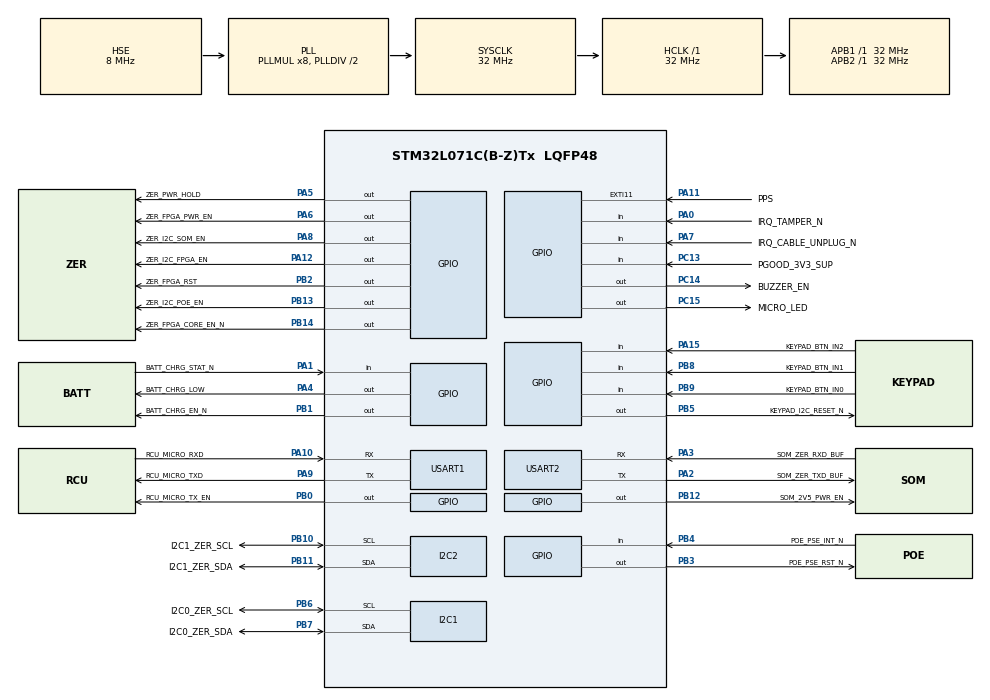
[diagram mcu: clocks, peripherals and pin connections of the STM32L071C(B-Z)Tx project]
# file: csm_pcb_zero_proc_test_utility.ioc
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ADC.ClockPrescaler=ADC_CLOCK_SYNC_PCLK_DIV4
ADC.ContinuousConvMode=ENABLE
ADC.SamplingTime=ADC_SAMPLETIME_160CYCLES_5
FREERTOS.INCLUDE_vTaskDelayUntil=1
FREERTOS.Queues01=serialRxEvent,128,uint32_t,0,Dynamic,NULL,NULL;serialCmdTaskRxData,128,uint32_t,0,Dynamic,NULL,NULL;serialCmdTaskTxData,1024,uint32_t,0,Dynamic,NULL,NULL;serialEchoTaskRxData,32,uint32_t,0,Dynamic,NULL,NULL;serialEchoTaskTxData,32,uint32_t,0,Dynamic,NULL,NULL
FREERTOS.Tasks01=defaultTask,-2,128,StartDefaultTask,Default,NULL,Dynamic,NULL,NULL;serialBufferTask,0,256,sbt_SerialBufferTask,As external,NULL,Dynamic,NULL,NULL;serialCmdTask,-1,512,sct_SerialCmdTask,As external,NULL,Dynamic,NULL,NULL;serialEchoTask,-1,256,set_SerialEchoTask,As external,NULL,Dynamic,NULL,NULL
FREERTOS.configMAX_TASK_NAME_LEN=32
FREERTOS.configTOTAL_HEAP_SIZE=12000
I2C1.Timing=0x00707CBB
I2C2.Timing=0x00707CBB
Mcu.Family=STM32L0
Mcu.Name=STM32L071C(B-Z)Tx
Mcu.Package=LQFP48
NVIC.EXTI4_15_IRQn=true\:3\:0\:true\:false\:true\:false\:true\:true
NVIC.TIM21_IRQn=true\:0\:0\:false\:false\:true\:false\:false\:true
NVIC.TIM7_IRQn=true\:3\:0\:true\:false\:true\:true\:true\:true
NVIC.TimeBase=TIM21_IRQn
NVIC.TimeBaseIP=TIM21
NVIC.USART1_IRQn=true\:3\:0\:true\:false\:true\:true\:true\:true
NVIC.USART2_IRQn=true\:3\:0\:true\:false\:true\:true\:true\:true
PA0.GPIO_Label=IRQ_TAMPER_N
PA0.GPIO_PuPd=GPIO_NOPULL
PA0.Signal=GPIO_Input
PA1.GPIO_Label=BATT_CHRG_STAT_N
PA1.Signal=GPIO_Input
PA10.GPIO_Label=RCU_MICRO_RXD
PA10.Mode=Asynchronous
PA10.Signal=USART1_RX
PA11.GPIO_Label=PPS
PA11.Signal=GPXTI11
PA12.GPIO_Label=ZER_I2C_FPGA_EN
PA12.Signal=GPIO_Output
PA13.Mode=Serial_Wire
PA13.Signal=SYS_SWDIO
PA14.Mode=Serial_Wire
PA14.Signal=SYS_SWCLK
PA15.GPIO_Label=KEYPAD_BTN_IN2
PA15.Signal=GPIO_Input
PA2.GPIO_Label=SOM_ZER_TXD_BUF
PA2.Mode=Asynchronous
PA2.Signal=USART2_TX
PA3.GPIO_Label=SOM_ZER_RXD_BUF
PA3.Mode=Asynchronous
PA3.Signal=USART2_RX
PA4.GPIO_Label=BATT_CHRG_LOW
PA4.GPIO_ModeDefaultOutputPP=GPIO_MODE_OUTPUT_OD
PA4.PinState=GPIO_PIN_SET
PA4.Signal=GPIO_Output
PA5.GPIO_Label=ZER_PWR_HOLD
PA5.Signal=GPIO_Output
PA6.GPIO_Label=ZER_FPGA_PWR_EN
PA6.PinState=GPIO_PIN_SET
PA6.Signal=GPIO_Output
PA7.GPIO_Label=IRQ_CABLE_UNPLUG_N
PA7.GPIO_PuPd=GPIO_NOPULL
PA7.Signal=GPIO_Input
PA8.GPIO_Label=ZER_I2C_SOM_EN
PA8.PinState=GPIO_PIN_SET
PA8.Signal=GPIO_Output
PA9.GPIO_Label=RCU_MICRO_TXD
PA9.Mode=Asynchronous
PA9.Signal=USART1_TX
PB0.GPIO_Label=RCU_MICRO_TX_EN
PB0.PinState=GPIO_PIN_SET
PB0.Signal=GPIO_Output
PB1.GPIO_Label=BATT_CHRG_EN_N
PB1.Signal=GPIO_Output
PB10.GPIO_Label=I2C1_ZER_SCL
PB10.Mode=I2C
PB10.Signal=I2C2_SCL
PB11.GPIO_Label=I2C1_ZER_SDA
PB11.Mode=I2C
PB11.Signal=I2C2_SDA
PB12.GPIO_Label=SOM_2V5_PWR_EN
PB12.GPIO_ModeDefaultOutputPP=GPIO_MODE_OUTPUT_OD
PB12.PinState=GPIO_PIN_SET
PB12.Signal=GPIO_Output
PB13.GPIO_Label=ZER_I2C_POE_EN
PB13.Signal=GPIO_Output
PB14.GPIO_Label=ZER_FPGA_CORE_EN_N
PB14.PinState=GPIO_PIN_SET
PB14.Signal=GPIO_Output
PB2.GPIO_Label=ZER_FPGA_RST
PB2.Signal=GPIO_Output
PB3.GPIO_Label=POE_PSE_RST_N
PB3.GPIO_ModeDefaultOutputPP=GPIO_MODE_OUTPUT_PP
PB3.PinState=GPIO_PIN_SET
PB3.Signal=GPIO_Output
PB4.GPIO_Label=POE_PSE_INT_N
PB4.Signal=GPIO_Input
PB5.GPIO_Label=KEYPAD_I2C_RESET_N
PB5.Signal=GPIO_Output
PB6.GPIO_Label=I2C0_ZER_SCL
PB6.Mode=I2C
PB6.Signal=I2C1_SCL
PB7.GPIO_Label=I2C0_ZER_SDA
PB7.Mode=I2C
PB7.Signal=I2C1_SDA
PB8.GPIO_Label=KEYPAD_BTN_IN1
PB8.Signal=GPIO_Input
PB9.GPIO_Label=KEYPAD_BTN_IN0
PB9.Signal=GPIO_Input
PC13.GPIO_Label=PGOOD_3V3_SUP
PC13.Signal=GPIO_Input
PC14-OSC32_IN.GPIO_Label=BUZZER_EN
PC14-OSC32_IN.Signal=GPIO_Output
PC15-OSC32_OUT.GPIO_Label=MICRO_LED
PC15-OSC32_OUT.Signal=GPIO_Output
PH0-OSC_IN.Mode=HSE-External-Clock-Source
PH0-OSC_IN.Signal=RCC_OSC_IN
ProjectManager.HeapSize=0x200
ProjectManager.StackSize=0x400
ProjectManager.TargetToolchain=STM32CubeIDE
RCC.AHBFreq_Value=32000000
RCC.APB1Freq_Value=32000000
RCC.APB1TimFreq_Value=32000000
RCC.APB2Freq_Value=32000000
RCC.APB2TimFreq_Value=32000000
RCC.HCLKFreq_Value=32000000
RCC.HSE_VALUE=8000000
RCC.HSI16_VALUE=16000000
RCC.HSI_VALUE=16000000
RCC.LSE_VALUE=32768
RCC.MSI_VALUE=2097000
RCC.PLLMUL=RCC_PLLMUL_8
RCC.PLLSourceVirtual=RCC_PLLSOURCE_HSE
RCC.SYSCLKFreq_VALUE=32000000
RCC.SYSCLKSource=RCC_SYSCLKSOURCE_PLLCLK
RCC.VCOOutputFreq_Value=64000000
TIM7.AutoReloadPreload=TIM_AUTORELOAD_PRELOAD_ENABLE
TIM7.Period=1000
TIM7.Prescaler=32000
TIM7.TIM_MasterOutputTrigger=TIM_TRGO_UPDATE
USART1.VirtualMode-Asynchronous=VM_ASYNC
USART2.VirtualMode-Asynchronous=VM_ASYNC
VP_ADC_TempSens_Input.Mode=IN-TempSens
VP_ADC_Vref_Input.Mode=IN-Vrefint
VP_FREERTOS_VS_CMSIS_V1.Mode=CMSIS_V1
VP_SYS_VS_tim21.Mode=TIM21
VP_TIM7_VS_ClockSourceINT.Mode=Enable_Timer
VP_TIM7_VS_OPM.Mode=OPM_bit
board=custom

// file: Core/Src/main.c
/* USER CODE BEGIN Header */
/**
  ******************************************************************************
  * @file           : main.c
  * @brief          : Main program body
  ******************************************************************************
  * @attention
  *
  * <h2><center>&copy; Copyright (c) 2020 STMicroelectronics.
  * All rights reserved.</center></h2>
  *
  * This software component is licensed by ST under BSD 3-Clause license,
  * the "License"; You may not use this file except in compliance with the
  * License. You may obtain a copy of the License at:
  *                        opensource.org/licenses/BSD-3-Clause
  *
  ******************************************************************************
  */
/* USER CODE END Header */
#include "main.h"
#include "cmsis_os.h"

/* USER CODE BEGIN Includes */
#include <string.h>
#include "serial_buffer_task.h"
#include "serial_echo_task.h"
#include "serial_cmd_task.h"
/* USER CODE END Includes */

ADC_HandleTypeDef hadc;

I2C_HandleTypeDef hi2c1;
I2C_HandleTypeDef hi2c2;

TIM_HandleTypeDef htim7;

UART_HandleTypeDef huart1;
UART_HandleTypeDef huart2;

osThreadId defaultTaskHandle;
osThreadId serialBufferTaskHandle;
osThreadId serialCmdTaskHandle;
osThreadId serialEchoTaskHandle;
osMessageQId serialRxEventHandle;
osMessageQId serialCmdTaskRxDataHandle;
osMessageQId serialCmdTaskTxDataHandle;
osMessageQId serialEchoTaskRxDataHandle;
osMessageQId serialEchoTaskTxDataHandle;

void SystemClock_Config(void);
static void MX_GPIO_Init(void);
static void MX_ADC_Init(void);
static void MX_I2C1_Init(void);
static void MX_I2C2_Init(void);
static void MX_USART1_UART_Init(void);
static void MX_USART2_UART_Init(void);
static void MX_TIM7_Init(void);
void StartDefaultTask(void const * argument);
extern void sbt_SerialBufferTask(void const * argument);
extern void sct_SerialCmdTask(void const * argument);
extern void set_SerialEchoTask(void const * argument);

int main(void)
{
  /* USER CODE BEGIN 1 */
  sct_Init_t sct_init_data;
  set_Init_t set_init_data;
  sbt_Init_t sbt_init_data;
  /* USER CODE END 1 */

  /* MCU Configuration--------------------------------------------------------*/

  /* Reset of all peripherals, Initializes the Flash interface and the Systick. */
  HAL_Init();

  /* Configure the system clock */
  SystemClock_Config();

  /* Initialize all configured peripherals */
  MX_GPIO_Init();
  MX_ADC_Init();
  MX_I2C1_Init();
  MX_I2C2_Init();
  MX_USART1_UART_Init();
  MX_USART2_UART_Init();
  MX_TIM7_Init();
  /* USER CODE BEGIN 2 */
  /* If either the anti-tamper or cable disconnect irqs are low
   * set ZER_PWR_HOLD to keep the +3V0_ZER_MICRO supply enabled */
  if ((HAL_GPIO_ReadPin(IRQ_TAMPER_N_GPIO_Port, IRQ_TAMPER_N_Pin) == GPIO_PIN_RESET) ||
	  (HAL_GPIO_ReadPin(IRQ_CABLE_UNPLUG_N_GPIO_Port, IRQ_CABLE_UNPLUG_N_Pin) == GPIO_PIN_RESET))
  {
	  HAL_GPIO_WritePin(ZER_PWR_HOLD_GPIO_Port, ZER_PWR_HOLD_Pin, GPIO_PIN_SET);
  }
  /* USER CODE END 2 */

  /* Create the queue(s) */
  /* definition and creation of serialRxEvent */
  osMessageQDef(serialRxEvent, 128, uint32_t);
  serialRxEventHandle = osMessageCreate(osMessageQ(serialRxEvent), NULL);

  /* definition and creation of serialCmdTaskRxData */
  osMessageQDef(serialCmdTaskRxData, 128, uint32_t);
  serialCmdTaskRxDataHandle = osMessageCreate(osMessageQ(serialCmdTaskRxData), NULL);

  /* definition and creation of serialCmdTaskTxData */
  osMessageQDef(serialCmdTaskTxData, 1024, uint32_t);
  serialCmdTaskTxDataHandle = osMessageCreate(osMessageQ(serialCmdTaskTxData), NULL);

  /* definition and creation of serialEchoTaskRxData */
  osMessageQDef(serialEchoTaskRxData, 32, uint32_t);
  serialEchoTaskRxDataHandle = osMessageCreate(osMessageQ(serialEchoTaskRxData), NULL);

  /* definition and creation of serialEchoTaskTxData */
  osMessageQDef(serialEchoTaskTxData, 32, uint32_t);
  serialEchoTaskTxDataHandle = osMessageCreate(osMessageQ(serialEchoTaskTxData), NULL);

  /* Create the thread(s) */
  /* definition and creation of defaultTask */
  osThreadDef(defaultTask, StartDefaultTask, osPriorityLow, 0, 128);
  defaultTaskHandle = osThreadCreate(osThread(defaultTask), NULL);

  /* definition and creation of serialBufferTask */
  osThreadDef(serialBufferTask, sbt_SerialBufferTask, osPriorityNormal, 0, 256);
  serialBufferTaskHandle = osThreadCreate(osThread(serialBufferTask), NULL);

  /* definition and creation of serialCmdTask */
  osThreadDef(serialCmdTask, sct_SerialCmdTask, osPriorityBelowNormal, 0, 512);
  serialCmdTaskHandle = osThreadCreate(osThread(serialCmdTask), NULL);

  /* definition and creation of serialEchoTask */
  osThreadDef(serialEchoTask, set_SerialEchoTask, osPriorityBelowNormal, 0, 256);
  serialEchoTaskHandle = osThreadCreate(osThread(serialEchoTask), NULL);

  /* USER CODE BEGIN RTOS_THREADS */
  /* add threads, ... */
  sbt_init_data.rx_event_queue				= serialRxEventHandle;
  sbt_init_data.no_uarts					= 2;
  sbt_init_data.uarts[0].huart 				= &huart2;
  sbt_init_data.uarts[0].uart_rx_data_queue	= serialEchoTaskRxDataHandle;
  sbt_init_data.uarts[0].uart_tx_data_queue = serialEchoTaskTxDataHandle;
  sbt_init_data.uarts[1].huart 				= &huart1;
  sbt_init_data.uarts[1].uart_rx_data_queue	= serialCmdTaskRxDataHandle;
  sbt_init_data.uarts[1].uart_tx_data_queue	= serialCmdTaskTxDataHandle;
  sbt_InitTask(sbt_init_data);

  set_init_data.tx_data_queue 		= serialEchoTaskTxDataHandle;
  set_init_data.rx_data_queue 		= serialEchoTaskRxDataHandle;
  set_InitTask(set_init_data);

  sct_init_data.tx_data_queue 		= serialCmdTaskTxDataHandle;
  sct_init_data.rx_data_queue 		= serialCmdTaskRxDataHandle;
  sct_init_data.i2c_device0			= &hi2c1;
  sct_init_data.i2c_device1			= &hi2c2;
  sct_init_data.buzzer_gpio_port	= BUZZER_EN_GPIO_Port;
  sct_init_data.buzzer_gpio_pin		= BUZZER_EN_Pin;
  sct_init_data.gpi_pins[0].port	= IRQ_TAMPER_N_GPIO_Port;
  sct_init_data.gpi_pins[0].pin		= IRQ_TAMPER_N_Pin;
  sct_init_data.i2c_reset_gpio_port = KEYPAD_I2C_RESET_N_GPIO_Port;
  sct_init_data.i2c_reset_gpio_pin	= KEYPAD_I2C_RESET_N_Pin;
  sct_init_data.pps_gpio_pin		= PPS_Pin;
  sct_init_data.pps_gpio_irq		= EXTI4_15_IRQn;
  sct_init_data.pwr_btn_timer		= &htim7;
  sct_init_data.adc_device			= &hadc;
  sct_init_data.gpi_pins[0].port	= IRQ_TAMPER_N_GPIO_Port;
  sct_init_data.gpi_pins[0].pin		= IRQ_TAMPER_N_Pin;
  strncpy(sct_init_data.gpi_pins[0].name, "IRQ_TAMPER_N", SCT_GPIO_PIN_NAME_MAX_LEN - 1);
  sct_init_data.gpi_pins[1].port	= BATT_CHRG_STAT_N_GPIO_Port;
  sct_init_data.gpi_pins[1].pin		= BATT_CHRG_STAT_N_Pin;
  strncpy(sct_init_data.gpi_pins[1].name, "BATT_CHRG_STAT_N", SCT_GPIO_PIN_NAME_MAX_LEN - 1);
  sct_init_data.gpi_pins[2].port	= IRQ_CABLE_UNPLUG_N_GPIO_Port;
  sct_init_data.gpi_pins[2].pin		= IRQ_CABLE_UNPLUG_N_Pin;
  strncpy(sct_init_data.gpi_pins[2].name, "IRQ_CABLE_UNPLUG_N", SCT_GPIO_PIN_NAME_MAX_LEN - 1);
  sct_init_data.gpi_pins[3].port	= PGOOD_3V3_SUP_GPIO_Port;
  sct_init_data.gpi_pins[3].pin		= PGOOD_3V3_SUP_Pin;
  strncpy(sct_init_data.gpi_pins[3].name, "PGOOD_3V3_SUP", SCT_GPIO_PIN_NAME_MAX_LEN - 1);
  sct_init_data.gpi_pins[4].port	= KEYPAD_BTN_IN0_GPIO_Port;
  sct_init_data.gpi_pins[4].pin		= KEYPAD_BTN_IN0_Pin;
  strncpy(sct_init_data.gpi_pins[4].name, "KEYPAD_BTN_IN0", SCT_GPIO_PIN_NAME_MAX_LEN - 1);
  sct_init_data.gpi_pins[5].port	= KEYPAD_BTN_IN1_GPIO_Port;
  sct_init_data.gpi_pins[5].pin		= KEYPAD_BTN_IN1_Pin;
  strncpy(sct_init_data.gpi_pins[5].name, "KEYPAD_BTN_IN1", SCT_GPIO_PIN_NAME_MAX_LEN - 1);
  sct_init_data.gpi_pins[6].port	= KEYPAD_BTN_IN2_GPIO_Port;
  sct_init_data.gpi_pins[6].pin		= KEYPAD_BTN_IN2_Pin;
  strncpy(sct_init_data.gpi_pins[6].name, "KEYPAD_BTN_IN2", SCT_GPIO_PIN_NAME_MAX_LEN - 1);
  sct_init_data.gpi_pins[7].port	= POE_PSE_INT_N_GPIO_Port;
  sct_init_data.gpi_pins[7].pin		= POE_PSE_INT_N_Pin;
  strncpy(sct_init_data.gpi_pins[7].name, "POE_PSE_INT_N", SCT_GPIO_PIN_NAME_MAX_LEN - 1);
  sct_init_data.gpo_pins[0].port	= ZER_PWR_HOLD_GPIO_Port;
  sct_init_data.gpo_pins[0].pin		= ZER_PWR_HOLD_Pin;
  strncpy(sct_init_data.gpo_pins[0].name, "ZER_PWR_HOLD", SCT_GPIO_PIN_NAME_MAX_LEN - 1);
  sct_init_data.gpo_pins[1].port	= ZER_FPGA_PWR_EN_GPIO_Port;
  sct_init_data.gpo_pins[1].pin		= ZER_FPGA_PWR_EN_Pin;
  strncpy(sct_init_data.gpo_pins[1].name, "ZER_FPGA_PWR_EN", SCT_GPIO_PIN_NAME_MAX_LEN - 1);
  sct_init_data.gpo_pins[2].port	= ZER_I2C_SOM_EN_GPIO_Port;
  sct_init_data.gpo_pins[2].pin		= ZER_I2C_SOM_EN_Pin;
  strncpy(sct_init_data.gpo_pins[2].name, "ZER_I2C_SOM_EN", SCT_GPIO_PIN_NAME_MAX_LEN - 1);
  sct_init_data.gpo_pins[3].port	= ZER_I2C_FPGA_EN_GPIO_Port;
  sct_init_data.gpo_pins[3].pin		= ZER_I2C_FPGA_EN_Pin;
  strncpy(sct_init_data.gpo_pins[3].name, "ZER_I2C_FPGA_EN", SCT_GPIO_PIN_NAME_MAX_LEN - 1);
  sct_init_data.gpo_pins[4].port	= ZER_FPGA_RST_GPIO_Port;
  sct_init_data.gpo_pins[4].pin		= ZER_FPGA_RST_Pin;
  strncpy(sct_init_data.gpo_pins[4].name, "ZER_FPGA_RST", SCT_GPIO_PIN_NAME_MAX_LEN - 1);
  sct_init_data.gpo_pins[5].port	= RCU_MICRO_TX_EN_GPIO_Port;
  sct_init_data.gpo_pins[5].pin		= RCU_MICRO_TX_EN_Pin;
  strncpy(sct_init_data.gpo_pins[5].name, "RCU_MICRO_TX_EN", SCT_GPIO_PIN_NAME_MAX_LEN - 1);
  sct_init_data.gpo_pins[6].port	= BATT_CHRG_LOW_GPIO_Port;
  sct_init_data.gpo_pins[6].pin		= BATT_CHRG_LOW_Pin;
  strncpy(sct_init_data.gpo_pins[6].name, "BATT_CHRG_LOW", SCT_GPIO_PIN_NAME_MAX_LEN - 1);
  sct_init_data.gpo_pins[7].port	= BATT_CHRG_EN_N_GPIO_Port;
  sct_init_data.gpo_pins[7].pin		= BATT_CHRG_EN_N_Pin;
  strncpy(sct_init_data.gpo_pins[7].name, "BATT_CHRG_EN_N", SCT_GPIO_PIN_NAME_MAX_LEN - 1);
  sct_init_data.gpo_pins[8].port	= POE_PSE_RST_N_GPIO_Port;
  sct_init_data.gpo_pins[8].pin		= POE_PSE_RST_N_Pin;
  strncpy(sct_init_data.gpo_pins[8].name, "POE_PSE_RST_N", SCT_GPIO_PIN_NAME_MAX_LEN - 1);
  sct_init_data.gpo_pins[9].port	= SOM_2V5_PWR_EN_GPIO_Port;
  sct_init_data.gpo_pins[9].pin		= SOM_2V5_PWR_EN_Pin;
  strncpy(sct_init_data.gpo_pins[9].name, "SOM_2V5_PWR_EN", SCT_GPIO_PIN_NAME_MAX_LEN - 1);
  sct_init_data.gpo_pins[10].port	= ZER_I2C_POE_EN_GPIO_Port;
  sct_init_data.gpo_pins[10].pin	= ZER_I2C_POE_EN_Pin;
  strncpy(sct_init_data.gpo_pins[10].name, "ZER_I2C_POE_EN", SCT_GPIO_PIN_NAME_MAX_LEN - 1);
  sct_init_data.gpo_pins[11].port	= ZER_FPGA_CORE_EN_N_GPIO_Port;
  sct_init_data.gpo_pins[11].pin	= ZER_FPGA_CORE_EN_N_Pin;
  strncpy(sct_init_data.gpo_pins[11].name, "ZER_FPGA_CORE_EN_N", SCT_GPIO_PIN_NAME_MAX_LEN - 1);
  sct_InitTask(sct_init_data);
  /* USER CODE END RTOS_THREADS */

  /* Start scheduler */
  osKernelStart();

  /* We should never get here as control is now taken by the scheduler */
  /* Infinite loop */
  while (1)
  {

  }
}

void SystemClock_Config(void)
{
  RCC_OscInitTypeDef RCC_OscInitStruct = {0};
  RCC_ClkInitTypeDef RCC_ClkInitStruct = {0};
  RCC_PeriphCLKInitTypeDef PeriphClkInit = {0};

  /** Configure the main internal regulator output voltage
  */
  __HAL_PWR_VOLTAGESCALING_CONFIG(PWR_REGULATOR_VOLTAGE_SCALE1);
  /** Initializes the RCC Oscillators according to the specified parameters
  * in the RCC_OscInitTypeDef structure.
  */
  RCC_OscInitStruct.OscillatorType = RCC_OSCILLATORTYPE_HSE;
  RCC_OscInitStruct.HSEState = RCC_HSE_BYPASS;
  RCC_OscInitStruct.PLL.PLLState = RCC_PLL_ON;
  RCC_OscInitStruct.PLL.PLLSource = RCC_PLLSOURCE_HSE;
  RCC_OscInitStruct.PLL.PLLMUL = RCC_PLLMUL_8;
  RCC_OscInitStruct.PLL.PLLDIV = RCC_PLLDIV_2;
  if (HAL_RCC_OscConfig(&RCC_OscInitStruct) != HAL_OK)
  {
    Error_Handler();
  }
  /** Initializes the CPU, AHB and APB buses clocks
  */
  RCC_ClkInitStruct.ClockType = RCC_CLOCKTYPE_HCLK|RCC_CLOCKTYPE_SYSCLK
                              |RCC_CLOCKTYPE_PCLK1|RCC_CLOCKTYPE_PCLK2;
  RCC_ClkInitStruct.SYSCLKSource = RCC_SYSCLKSOURCE_PLLCLK;
  RCC_ClkInitStruct.AHBCLKDivider = RCC_SYSCLK_DIV1;
  RCC_ClkInitStruct.APB1CLKDivider = RCC_HCLK_DIV1;
  RCC_ClkInitStruct.APB2CLKDivider = RCC_HCLK_DIV1;

  if (HAL_RCC_ClockConfig(&RCC_ClkInitStruct, FLASH_LATENCY_1) != HAL_OK)
  {
    Error_Handler();
  }
  PeriphClkInit.PeriphClockSelection = RCC_PERIPHCLK_USART1|RCC_PERIPHCLK_USART2
                              |RCC_PERIPHCLK_I2C1;
  PeriphClkInit.Usart1ClockSelection = RCC_USART1CLKSOURCE_PCLK2;
  PeriphClkInit.Usart2ClockSelection = RCC_USART2CLKSOURCE_PCLK1;
  PeriphClkInit.I2c1ClockSelection = RCC_I2C1CLKSOURCE_PCLK1;
  if (HAL_RCCEx_PeriphCLKConfig(&PeriphClkInit) != HAL_OK)
  {
    Error_Handler();
  }
}

static void MX_ADC_Init(void)
{

  ADC_ChannelConfTypeDef sConfig = {0};

  /** Configure the global features of the ADC (Clock, Resolution, Data Alignment and number of conversion)
  */
  hadc.Instance = ADC1;
  hadc.Init.OversamplingMode = DISABLE;
  hadc.Init.ClockPrescaler = ADC_CLOCK_SYNC_PCLK_DIV4;
  hadc.Init.Resolution = ADC_RESOLUTION_12B;
  hadc.Init.SamplingTime = ADC_SAMPLETIME_160CYCLES_5;
  hadc.Init.ScanConvMode = ADC_SCAN_DIRECTION_FORWARD;
  hadc.Init.DataAlign = ADC_DATAALIGN_RIGHT;
  hadc.Init.ContinuousConvMode = ENABLE;
  hadc.Init.DiscontinuousConvMode = DISABLE;
  hadc.Init.ExternalTrigConvEdge = ADC_EXTERNALTRIGCONVEDGE_NONE;
  hadc.Init.ExternalTrigConv = ADC_SOFTWARE_START;
  hadc.Init.DMAContinuousRequests = DISABLE;
  hadc.Init.EOCSelection = ADC_EOC_SINGLE_CONV;
  hadc.Init.Overrun = ADC_OVR_DATA_PRESERVED;
  hadc.Init.LowPowerAutoWait = DISABLE;
  hadc.Init.LowPowerFrequencyMode = DISABLE;
  hadc.Init.LowPowerAutoPowerOff = DISABLE;
  if (HAL_ADC_Init(&hadc) != HAL_OK)
  {
    Error_Handler();
  }
  /** Configure for the selected ADC regular channel to be converted.
  */
  sConfig.Channel = ADC_CHANNEL_TEMPSENSOR;
  sConfig.Rank = ADC_RANK_CHANNEL_NUMBER;
  if (HAL_ADC_ConfigChannel(&hadc, &sConfig) != HAL_OK)
  {
    Error_Handler();
  }
  /** Configure for the selected ADC regular channel to be converted.
  */
  sConfig.Channel = ADC_CHANNEL_VREFINT;
  if (HAL_ADC_ConfigChannel(&hadc, &sConfig) != HAL_OK)
  {
    Error_Handler();
  }
  /* USER CODE BEGIN ADC_Init 2 */
  HAL_ADCEx_Calibration_Start(&hadc, ADC_SINGLE_ENDED);
  /* USER CODE END ADC_Init 2 */

}

static void MX_I2C1_Init(void)
{

  hi2c1.Instance = I2C1;
  hi2c1.Init.Timing = 0x00707CBB;
  hi2c1.Init.OwnAddress1 = 0;
  hi2c1.Init.AddressingMode = I2C_ADDRESSINGMODE_7BIT;
  hi2c1.Init.DualAddressMode = I2C_DUALADDRESS_DISABLE;
  hi2c1.Init.OwnAddress2 = 0;
  hi2c1.Init.OwnAddress2Masks = I2C_OA2_NOMASK;
  hi2c1.Init.GeneralCallMode = I2C_GENERALCALL_DISABLE;
  hi2c1.Init.NoStretchMode = I2C_NOSTRETCH_DISABLE;
  if (HAL_I2C_Init(&hi2c1) != HAL_OK)
  {
    Error_Handler();
  }
  /** Configure Analogue filter
  */
  if (HAL_I2CEx_ConfigAnalogFilter(&hi2c1, I2C_ANALOGFILTER_ENABLE) != HAL_OK)
  {
    Error_Handler();
  }
  /** Configure Digital filter
  */
  if (HAL_I2CEx_ConfigDigitalFilter(&hi2c1, 0) != HAL_OK)
  {
    Error_Handler();
  }

}

static void MX_I2C2_Init(void)
{

  hi2c2.Instance = I2C2;
  hi2c2.Init.Timing = 0x00707CBB;
  hi2c2.Init.OwnAddress1 = 0;
  hi2c2.Init.AddressingMode = I2C_ADDRESSINGMODE_7BIT;
  hi2c2.Init.DualAddressMode = I2C_DUALADDRESS_DISABLE;
  hi2c2.Init.OwnAddress2 = 0;
  hi2c2.Init.OwnAddress2Masks = I2C_OA2_NOMASK;
  hi2c2.Init.GeneralCallMode = I2C_GENERALCALL_DISABLE;
  hi2c2.Init.NoStretchMode = I2C_NOSTRETCH_DISABLE;
  if (HAL_I2C_Init(&hi2c2) != HAL_OK)
  {
    Error_Handler();
  }
  /** Configure Analogue filter
  */
  if (HAL_I2CEx_ConfigAnalogFilter(&hi2c2, I2C_ANALOGFILTER_ENABLE) != HAL_OK)
  {
    Error_Handler();
  }
  /** Configure Digital filter
  */
  if (HAL_I2CEx_ConfigDigitalFilter(&hi2c2, 0) != HAL_OK)
  {
    Error_Handler();
  }

}

static void MX_TIM7_Init(void)
{

  TIM_MasterConfigTypeDef sMasterConfig = {0};

  htim7.Instance = TIM7;
  htim7.Init.Prescaler = 32000;
  htim7.Init.CounterMode = TIM_COUNTERMODE_UP;
  htim7.Init.Period = 1000;
  htim7.Init.AutoReloadPreload = TIM_AUTORELOAD_PRELOAD_ENABLE;
  if (HAL_TIM_Base_Init(&htim7) != HAL_OK)
  {
    Error_Handler();
  }
  if (HAL_TIM_OnePulse_Init(&htim7, TIM_OPMODE_SINGLE) != HAL_OK)
  {
    Error_Handler();
  }
  sMasterConfig.MasterOutputTrigger = TIM_TRGO_UPDATE;
  sMasterConfig.MasterSlaveMode = TIM_MASTERSLAVEMODE_DISABLE;
  if (HAL_TIMEx_MasterConfigSynchronization(&htim7, &sMasterConfig) != HAL_OK)
  {
    Error_Handler();
  }

}

static void MX_USART1_UART_Init(void)
{

  huart1.Instance = USART1;
  huart1.Init.BaudRate = 115200;
  huart1.Init.WordLength = UART_WORDLENGTH_8B;
  huart1.Init.StopBits = UART_STOPBITS_1;
  huart1.Init.Parity = UART_PARITY_NONE;
  huart1.Init.Mode = UART_MODE_TX_RX;
  huart1.Init.HwFlowCtl = UART_HWCONTROL_NONE;
  huart1.Init.OverSampling = UART_OVERSAMPLING_16;
  huart1.Init.OneBitSampling = UART_ONE_BIT_SAMPLE_DISABLE;
  huart1.AdvancedInit.AdvFeatureInit = UART_ADVFEATURE_NO_INIT;
  if (HAL_UART_Init(&huart1) != HAL_OK)
  {
    Error_Handler();
  }

}

static void MX_USART2_UART_Init(void)
{

  huart2.Instance = USART2;
  huart2.Init.BaudRate = 115200;
  huart2.Init.WordLength = UART_WORDLENGTH_8B;
  huart2.Init.StopBits = UART_STOPBITS_1;
  huart2.Init.Parity = UART_PARITY_NONE;
  huart2.Init.Mode = UART_MODE_TX_RX;
  huart2.Init.HwFlowCtl = UART_HWCONTROL_NONE;
  huart2.Init.OverSampling = UART_OVERSAMPLING_16;
  huart2.Init.OneBitSampling = UART_ONE_BIT_SAMPLE_DISABLE;
  huart2.AdvancedInit.AdvFeatureInit = UART_ADVFEATURE_NO_INIT;
  if (HAL_UART_Init(&huart2) != HAL_OK)
  {
    Error_Handler();
  }

}

static void MX_GPIO_Init(void)
{
  GPIO_InitTypeDef GPIO_InitStruct = {0};

  /* GPIO Ports Clock Enable */
  __HAL_RCC_GPIOC_CLK_ENABLE();
  __HAL_RCC_GPIOH_CLK_ENABLE();
  __HAL_RCC_GPIOA_CLK_ENABLE();
  __HAL_RCC_GPIOB_CLK_ENABLE();

  /*Configure GPIO pin Output Level */
  HAL_GPIO_WritePin(GPIOC, BUZZER_EN_Pin|MICRO_LED_Pin, GPIO_PIN_RESET);

  /*Configure GPIO pin Output Level */
  HAL_GPIO_WritePin(GPIOA, BATT_CHRG_LOW_Pin|ZER_FPGA_PWR_EN_Pin|ZER_I2C_SOM_EN_Pin, GPIO_PIN_SET);

  /*Configure GPIO pin Output Level */
  HAL_GPIO_WritePin(GPIOA, ZER_PWR_HOLD_Pin|ZER_I2C_FPGA_EN_Pin, GPIO_PIN_RESET);

  /*Configure GPIO pin Output Level */
  HAL_GPIO_WritePin(GPIOB, RCU_MICRO_TX_EN_Pin|SOM_2V5_PWR_EN_Pin|ZER_FPGA_CORE_EN_N_Pin|POE_PSE_RST_N_Pin, GPIO_PIN_SET);

  /*Configure GPIO pin Output Level */
  HAL_GPIO_WritePin(GPIOB, BATT_CHRG_EN_N_Pin|ZER_FPGA_RST_Pin|ZER_I2C_POE_EN_Pin|KEYPAD_I2C_RESET_N_Pin, GPIO_PIN_RESET);

  /*Configure GPIO pin : PGOOD_3V3_SUP_Pin */
  GPIO_InitStruct.Pin = PGOOD_3V3_SUP_Pin;
  GPIO_InitStruct.Mode = GPIO_MODE_INPUT;
  GPIO_InitStruct.Pull = GPIO_NOPULL;
  HAL_GPIO_Init(PGOOD_3V3_SUP_GPIO_Port, &GPIO_InitStruct);

  /*Configure GPIO pins : BUZZER_EN_Pin MICRO_LED_Pin */
  GPIO_InitStruct.Pin = BUZZER_EN_Pin|MICRO_LED_Pin;
  GPIO_InitStruct.Mode = GPIO_MODE_OUTPUT_PP;
  GPIO_InitStruct.Pull = GPIO_NOPULL;
  GPIO_InitStruct.Speed = GPIO_SPEED_FREQ_LOW;
  HAL_GPIO_Init(GPIOC, &GPIO_InitStruct);

  /*Configure GPIO pins : IRQ_TAMPER_N_Pin BATT_CHRG_STAT_N_Pin IRQ_CABLE_UNPLUG_N_Pin KEYPAD_BTN_IN2_Pin */
  GPIO_InitStruct.Pin = IRQ_TAMPER_N_Pin|BATT_CHRG_STAT_N_Pin|IRQ_CABLE_UNPLUG_N_Pin|KEYPAD_BTN_IN2_Pin;
  GPIO_InitStruct.Mode = GPIO_MODE_INPUT;
  GPIO_InitStruct.Pull = GPIO_NOPULL;
  HAL_GPIO_Init(GPIOA, &GPIO_InitStruct);

  /*Configure GPIO pin : BATT_CHRG_LOW_Pin */
  GPIO_InitStruct.Pin = BATT_CHRG_LOW_Pin;
  GPIO_InitStruct.Mode = GPIO_MODE_OUTPUT_OD;
  GPIO_InitStruct.Pull = GPIO_NOPULL;
  GPIO_InitStruct.Speed = GPIO_SPEED_FREQ_LOW;
  HAL_GPIO_Init(BATT_CHRG_LOW_GPIO_Port, &GPIO_InitStruct);

  /*Configure GPIO pins : ZER_PWR_HOLD_Pin ZER_FPGA_PWR_EN_Pin ZER_I2C_SOM_EN_Pin ZER_I2C_FPGA_EN_Pin */
  GPIO_InitStruct.Pin = ZER_PWR_HOLD_Pin|ZER_FPGA_PWR_EN_Pin|ZER_I2C_SOM_EN_Pin|ZER_I2C_FPGA_EN_Pin;
  GPIO_InitStruct.Mode = GPIO_MODE_OUTPUT_PP;
  GPIO_InitStruct.Pull = GPIO_NOPULL;
  GPIO_InitStruct.Speed = GPIO_SPEED_FREQ_LOW;
  HAL_GPIO_Init(GPIOA, &GPIO_InitStruct);

  /*Configure GPIO pins : RCU_MICRO_TX_EN_Pin BATT_CHRG_EN_N_Pin ZER_FPGA_RST_Pin ZER_I2C_POE_EN_Pin
                           ZER_FPGA_CORE_EN_N_Pin POE_PSE_RST_N_Pin KEYPAD_I2C_RESET_N_Pin */
  GPIO_InitStruct.Pin = RCU_MICRO_TX_EN_Pin|BATT_CHRG_EN_N_Pin|ZER_FPGA_RST_Pin|ZER_I2C_POE_EN_Pin
                          |ZER_FPGA_CORE_EN_N_Pin|POE_PSE_RST_N_Pin|KEYPAD_I2C_RESET_N_Pin;
  GPIO_InitStruct.Mode = GPIO_MODE_OUTPUT_PP;
  GPIO_InitStruct.Pull = GPIO_NOPULL;
  GPIO_InitStruct.Speed = GPIO_SPEED_FREQ_LOW;
  HAL_GPIO_Init(GPIOB, &GPIO_InitStruct);

  /*Configure GPIO pin : SOM_2V5_PWR_EN_Pin */
  GPIO_InitStruct.Pin = SOM_2V5_PWR_EN_Pin;
  GPIO_InitStruct.Mode = GPIO_MODE_OUTPUT_OD;
  GPIO_InitStruct.Pull = GPIO_NOPULL;
  GPIO_InitStruct.Speed = GPIO_SPEED_FREQ_LOW;
  HAL_GPIO_Init(SOM_2V5_PWR_EN_GPIO_Port, &GPIO_InitStruct);

  /*Configure GPIO pin : PPS_Pin */
  GPIO_InitStruct.Pin = PPS_Pin;
  GPIO_InitStruct.Mode = GPIO_MODE_IT_RISING;
  GPIO_InitStruct.Pull = GPIO_NOPULL;
  HAL_GPIO_Init(PPS_GPIO_Port, &GPIO_InitStruct);

  /*Configure GPIO pins : POE_PSE_INT_N_Pin KEYPAD_BTN_IN1_Pin KEYPAD_BTN_IN0_Pin */
  GPIO_InitStruct.Pin = POE_PSE_INT_N_Pin|KEYPAD_BTN_IN1_Pin|KEYPAD_BTN_IN0_Pin;
  GPIO_InitStruct.Mode = GPIO_MODE_INPUT;
  GPIO_InitStruct.Pull = GPIO_NOPULL;
  HAL_GPIO_Init(GPIOB, &GPIO_InitStruct);

  /* EXTI interrupt init*/
  HAL_NVIC_SetPriority(EXTI4_15_IRQn, 3, 0);
  HAL_NVIC_EnableIRQ(EXTI4_15_IRQn);

}

void StartDefaultTask(void const * argument)
{
  /* USER CODE BEGIN 5 */
  /* Infinite loop */
  for(;;)
  {
    osDelay(1000);
    HAL_GPIO_TogglePin(MICRO_LED_GPIO_Port, MICRO_LED_Pin);
  }
  /* USER CODE END 5 */
}

void HAL_TIM_PeriodElapsedCallback(TIM_HandleTypeDef *htim)
{
  if (htim->Instance == TIM21) {
    HAL_IncTick();
  }
}

void Error_Handler(void)
{
}

/************************ (C) COPYRIGHT STMicroelectronics *****END OF FILE****/
